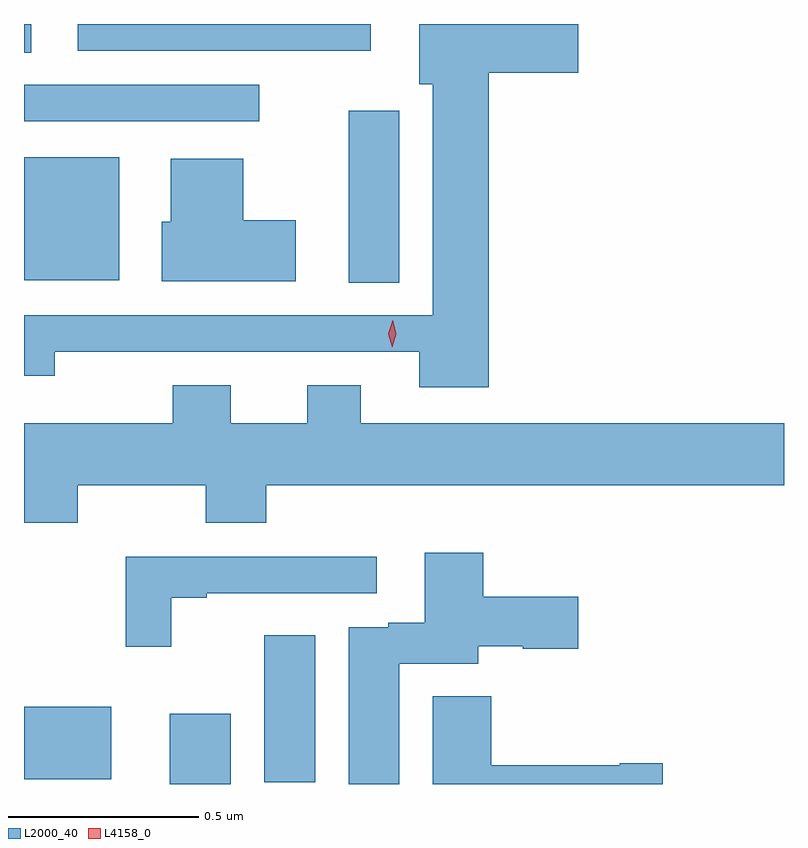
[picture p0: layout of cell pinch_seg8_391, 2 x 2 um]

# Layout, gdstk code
import gdstk
lib = gdstk.Library(unit=1e-6, precision=1e-09)
def R(c, l, rs):  # rectangles x0, y0, x1, y1
    for r in rs: c.add(gdstk.rectangle(r[:2], r[2:], *l))
def P(c, l, *ps):  # polygons
    for p in ps: c.add(gdstk.Polygon(p, *l))
L2000_40 = (2000, 40)
L4158_0 = (4158, 0)

pinch_seg8_391 = lib.new_cell('pinch_seg8_391')
R(pinch_seg8_391, L2000_40, [(397.979,1089.074,398.14,1089.259), (398.228,1089.078,398.362,1089.466), (397.596,1089.086,397.825,1089.277), (398.45,1090.393,398.584,1090.846), (397.596,1090.4,397.846,1090.723), (397.596,1090.818,398.215,1090.914), (397.596,1090.999,397.615,1091.074), (397.737,1091.004,398.509,1091.074)])
P(pinch_seg8_391, L2000_40, [(398.819,1090.946),(399.055,1090.946),(399.055,1091.074),(398.636,1091.074),(398.636,1090.916),(398.672,1090.916),(398.672,1090.308),(397.596,1090.308),(397.596,1090.149),(397.677,1090.149),(397.677,1090.211),(397.904,1090.211),(397.904,1090.212),(398.636,1090.212),(398.636,1090.118),(398.819,1090.118)],
  [(398.311,1090.558),(398.173,1090.558),(398.173,1090.72),(397.982,1090.72),(397.982,1090.554),(397.958,1090.554),(397.958,1090.397),(398.311,1090.397)],
  [(397.737,1089.86),(398.074,1089.86),(398.074,1089.761),(398.234,1089.761),(398.234,1089.86),(399.596,1089.86),(399.596,1090.024),(398.482,1090.024),(398.482,1090.123),(398.342,1090.123),(398.342,1090.024),(398.14,1090.024),(398.14,1090.123),(397.988,1090.123),(397.988,1090.024),(397.596,1090.024),(397.596,1089.761),(397.737,1089.761)],
  [(398.584,1089.39),(398.791,1089.39),(398.791,1089.437),(398.908,1089.437),(398.908,1089.43),(399.055,1089.43),(399.055,1089.567),(398.804,1089.567),(398.804,1089.682),(398.651,1089.682),(398.651,1089.499),(398.555,1089.499),(398.555,1089.486),(398.45,1089.486),(398.45,1089.074),(398.584,1089.074)],
  [(397.983,1089.564),(398.077,1089.564),(398.077,1089.576),(398.524,1089.576),(398.524,1089.672),(397.864,1089.672),(397.864,1089.435),(397.983,1089.435)],
  [(399.277,1089.128),(399.164,1089.128),(399.164,1089.123),(398.825,1089.123),(398.825,1089.305),(398.672,1089.305),(398.672,1089.074),(399.277,1089.074)])
P(pinch_seg8_391, L4158_0, [(398.565,1090.223),(398.565,1090.223),(398.555,1090.259),(398.566,1090.295),(398.566,1090.295),(398.566,1090.295),(398.575,1090.259),(398.565,1090.223)])

lib.write_gds('pinch_seg8_391.gds')
